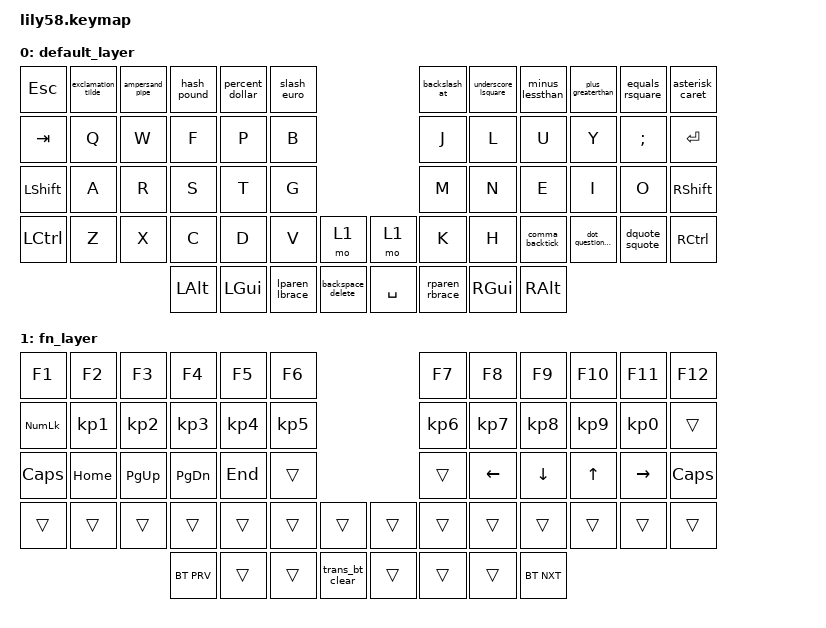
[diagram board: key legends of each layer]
/*
 * Copyright (c) 2020 The ZMK Contributors
 *
 * SPDX-License-Identifier: MIT
 */

#include <behaviors.dtsi>
#include <dt-bindings/zmk/bt.h>
#include <dt-bindings/zmk/keys.h>

/ {
    behaviors {
        exclamation_tilde: exclamation_tilde {
            compatible = "zmk,behavior-mod-morph";
            label = "EXCLAMATION_TILDE";
            bindings = <&kp EXCLAMATION>, <&kp NON_US_HASH>;

            #binding-cells = <0>;
            mods = <(MOD_LSFT|MOD_RSFT)>;
            keep-mods = <(MOD_LSFT|MOD_RSFT)>;
        };

        ampersand_pipe: ampersand_pipe {
            compatible = "zmk,behavior-mod-morph";
            label = "AMPERSAND_PIPE";
            bindings = <&kp AMPERSAND>, <&kp NON_US_BACKSLASH>;

            #binding-cells = <0>;
            mods = <(MOD_LSFT|MOD_RSFT)>;
            keep-mods = <(MOD_LSFT|MOD_RSFT)>;
        };

        hash_pound: hash_pound {
            compatible = "zmk,behavior-mod-morph";
            label = "HASH_POUND";
            bindings = <&kp NON_US_HASH>, <&kp NUMBER_3>;

            #binding-cells = <0>;
            mods = <(MOD_LSFT|MOD_RSFT)>;
            keep-mods = <(MOD_LSFT|MOD_RSFT)>;
        };

        percent_dollar: percent_dollar {
            compatible = "zmk,behavior-mod-morph";
            label = "PERCENT_DOLLAR";
            bindings = <&kp PERCENT>, <&kp NUMBER_4>;

            #binding-cells = <0>;
            mods = <(MOD_LSFT|MOD_RSFT)>;
            keep-mods = <(MOD_LSFT|MOD_RSFT)>;
        };

        slash_euro: slash_euro {
            compatible = "zmk,behavior-mod-morph";
            label = "SLASH_EURO";
            bindings = <&kp SLASH>, <&kp RA(NUMBER_4)>;

            #binding-cells = <0>;
            mods = <(MOD_LSFT|MOD_RSFT)>;
        };

        backslash_at: backslash_at {
            compatible = "zmk,behavior-mod-morph";
            label = "BACKSLASH_AT";
            bindings = <&kp NON_US_BACKSLASH>, <&kp APOSTROPHE>;

            #binding-cells = <0>;
            mods = <(MOD_LSFT|MOD_RSFT)>;
            keep-mods = <(MOD_LSFT|MOD_RSFT)>;
        };

        underscore_lsquare: underscore_lsquare {
            compatible = "zmk,behavior-mod-morph";
            label = "UNDERSCORE_LSQUARE";
            bindings = <&kp UNDERSCORE>, <&kp LEFT_BRACKET>;

            #binding-cells = <0>;
            mods = <(MOD_LSFT|MOD_RSFT)>;
        };

        minus_lessthan: minus_lessthan {
            compatible = "zmk,behavior-mod-morph";
            label = "MINUS_LESSTHAN";
            bindings = <&kp MINUS>, <&kp COMMA>;

            #binding-cells = <0>;
            mods = <(MOD_LSFT|MOD_RSFT)>;
            keep-mods = <(MOD_LSFT|MOD_RSFT)>;
        };

        plus_greaterthan: plus_greaterthan {
            compatible = "zmk,behavior-mod-morph";
            label = "PLUS_GREATERTHAN";
            bindings = <&kp PLUS>, <&kp PERIOD>;

            #binding-cells = <0>;
            mods = <(MOD_LSFT|MOD_RSFT)>;
            keep-mods = <(MOD_LSFT|MOD_RSFT)>;
        };

        equals_rsquare: equals_rsquare {
            compatible = "zmk,behavior-mod-morph";
            label = "EQUALS_RSQUARE";
            bindings = <&kp EQUAL>, <&kp RIGHT_BRACKET>;

            #binding-cells = <0>;
            mods = <(MOD_LSFT|MOD_RSFT)>;
        };

        asterisk_caret: asterisk_caret {
            compatible = "zmk,behavior-mod-morph";
            label = "ASTERISK_CARET";
            bindings = <&kp ASTERISK>, <&kp NUMBER_6>;

            #binding-cells = <0>;
            mods = <(MOD_LSFT|MOD_RSFT)>;
            keep-mods = <(MOD_LSFT|MOD_RSFT)>;
        };

        lparen_lbrace: lparen_lbrace {
            compatible = "zmk,behavior-mod-morph";
            label = "LPAREN_LBRACE";
            bindings = <&kp LEFT_PARENTHESIS>, <&kp LEFT_BRACKET>;

            #binding-cells = <0>;
            mods = <(MOD_LSFT|MOD_RSFT)>;
            keep-mods = <(MOD_LSFT|MOD_RSFT)>;
        };

        rparen_rbrace: rparen_rbrace {
            compatible = "zmk,behavior-mod-morph";
            label = "RPAREN_RBRACE";
            bindings = <&kp RIGHT_PARENTHESIS>, <&kp RIGHT_BRACKET>;

            #binding-cells = <0>;
            mods = <(MOD_LSFT|MOD_RSFT)>;
            keep-mods = <(MOD_LSFT|MOD_RSFT)>;
        };

        comma_backtick: comma_backtick {
            compatible = "zmk,behavior-mod-morph";
            label = "COMMA_BACKTICK";
            bindings = <&kp COMMA>, <&kp GRAVE>;

            #binding-cells = <0>;
            mods = <(MOD_LSFT|MOD_RSFT)>;
        };

        dot_questionmark: dot_questionmark {
            compatible = "zmk,behavior-mod-morph";
            label = "DOT_QUESTIONMARK";
            bindings = <&kp PERIOD>, <&kp SLASH>;

            #binding-cells = <0>;
            mods = <(MOD_LSFT|MOD_RSFT)>;
            keep-mods = <(MOD_LSFT|MOD_RSFT)>;
        };

        dquote_squote: dquote_squote {
            compatible = "zmk,behavior-mod-morph";
            label = "DQUOTE_SQUOTE";
            bindings = <&kp LS(NUMBER_2)>, <&kp SINGLE_QUOTE>;

            #binding-cells = <0>;
            mods = <(MOD_LSFT|MOD_RSFT)>;
        };

        backspace_delete: backspace_delete {
            compatible = "zmk,behavior-mod-morph";
            label = "BACKSPACE_DELETE";
            bindings = <&kp BACKSPACE>, <&kp DELETE>;

            #binding-cells = <0>;
            mods = <(MOD_LSFT|MOD_RSFT)>;
        };

        trans_bt_clear: trans_bt_clear {
            compatible = "zmk,behavior-mod-morph";
            label = "TRANS_BT_CLEAR";
            bindings = <&trans>, <&bt BT_CLR>;

            #binding-cells = <0>;
            mods = <(MOD_RSFT|MOD_LSFT)>;
        };
    };

    keymap {
        compatible = "zmk,keymap";

        default_layer {
            // ------------------------------------------------------------------------------------------------------------
            // |  ESC  |  1  |  2  |  3   |  4   |  5   |                   |  6   |  7    |  8    |  9   |   0   |   `   |
            // |  TAB  |  Q  |  W  |  E   |  R   |  T   |                   |  Y   |  U    |  I    |  O   |   P   |   -   |
            // |  CTRL |  A  |  S  |  D   |  F   |  G   |                   |  H   |  J    |  K    |  L   |   ;   |   '   |
            // | SHIFT |  Z  |  X  |  C   |  V   |  B   |   "["  |  |  "]"  |  N   |  M    |  ,    |  .   |   /   | SHIFT |
            //                     | ALT  | GUI  | LOWER|  SPACE |  | ENTER | RAISE| BSPC  | GUI   |

            bindings = <
&kp ESC         &exclamation_tilde  &ampersand_pipe  &hash_pound  &percent_dollar  &slash_euro                                     &backslash_at   &underscore_lsquare  &minus_lessthan  &plus_greaterthan  &equals_rsquare  &asterisk_caret
&kp TAB         &kp Q               &kp W            &kp F        &kp P            &kp B                                           &kp J           &kp L                &kp U            &kp Y              &kp SEMICOLON    &kp ENTER
&kp LEFT_SHIFT  &kp A               &kp R            &kp S        &kp T            &kp G                                           &kp M           &kp N                &kp E            &kp I              &kp O            &kp RIGHT_SHIFT
&kp LCTRL       &kp Z               &kp X            &kp C        &kp D            &kp V           &mo 1                &mo 1      &kp K           &kp H                &comma_backtick  &dot_questionmark  &dquote_squote   &kp RCTRL
                                                     &kp LALT     &kp LGUI         &lparen_lbrace  &backspace_delete    &kp SPACE  &rparen_rbrace  &kp RGUI             &kp RALT
            >;
        };

        fn_layer {
            bindings = <
&kp F1          &kp F2           &kp F3           &kp F4           &kp F5           &kp F6                                      &kp F7           &kp F8           &kp F9           &kp F10          &kp F11          &kp F12
&kp KP_NUMLOCK  &kp KP_NUMBER_1  &kp KP_NUMBER_2  &kp KP_NUMBER_3  &kp KP_NUMBER_4  &kp KP_NUMBER_5                             &kp KP_NUMBER_6  &kp KP_NUMBER_7  &kp KP_NUMBER_8  &kp KP_NUMBER_9  &kp KP_NUMBER_0  &trans
&kp CAPSLOCK    &kp HOME         &kp PAGE_UP      &kp PAGE_DOWN    &kp END          &trans                                      &trans           &kp LEFT_ARROW   &kp DOWN_ARROW   &kp UP_ARROW     &kp RIGHT_ARROW  &kp CAPSLOCK
&trans          &trans           &trans           &trans           &trans           &trans           &trans             &trans  &trans           &trans           &trans           &trans           &trans           &trans
                                                  &bt BT_PRV       &trans           &trans           &trans_bt_clear    &trans  &trans           &trans           &bt BT_NXT
            >;
        };
    };
};
